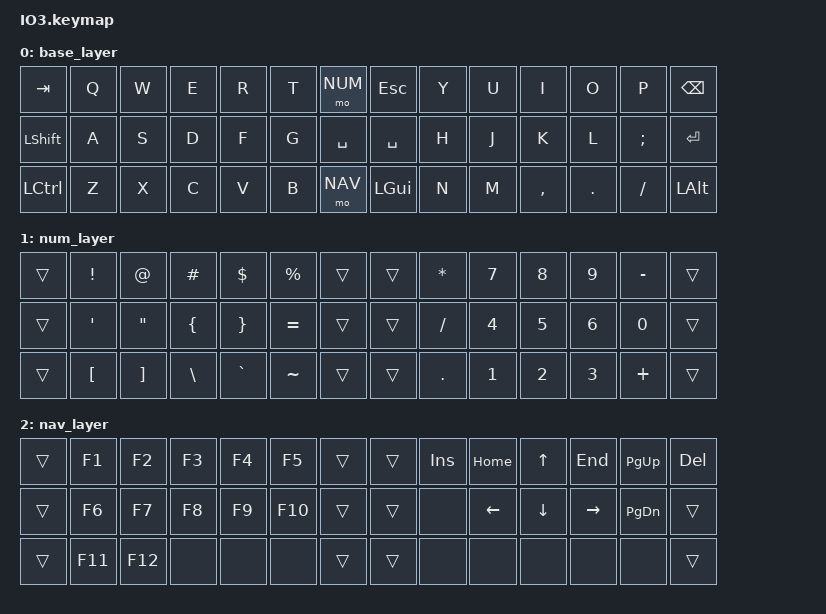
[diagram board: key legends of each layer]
#include <behaviors.dtsi>
#include <dt-bindings/zmk/keys.h>

#define BASE 0
#define NUM 1
#define NAV 2

// Keep the original 42 logical positions and both existing Space positions.
// Each line: left six keys, left thumb slot, right thumb slot, right six keys.
// Thumb slots are interleaved here; their physical order depends on the PCB.
// No hold-tap, toggle layers, Bluetooth clearing, or reset actions.

/ {
    keymap {
        compatible = "zmk,keymap";

        base_layer {
            bindings = <
                &kp TAB      &kp Q        &kp W        &kp E        &kp R        &kp T         &mo NUM      &kp ESC        &kp Y        &kp U        &kp I        &kp O        &kp P        &kp BSPC
                &kp LSHIFT   &kp A        &kp S        &kp D        &kp F        &kp G         &kp SPACE    &kp SPACE      &kp H        &kp J        &kp K        &kp L        &kp SEMI     &kp ENTER
                &kp LCTRL    &kp Z        &kp X        &kp C        &kp V        &kp B         &mo NAV      &kp LGUI       &kp N        &kp M        &kp COMMA    &kp DOT      &kp FSLH     &kp LALT
            >;
        };

        num_layer {
            bindings = <
                &trans       &kp EXCL     &kp AT       &kp HASH     &kp DLLR     &kp PRCNT     &trans       &trans         &kp ASTRK    &kp N7       &kp N8       &kp N9       &kp MINUS    &trans
                &trans       &kp SQT      &kp DQT      &kp LBRC     &kp RBRC     &kp EQUAL     &trans       &trans         &kp FSLH     &kp N4       &kp N5       &kp N6       &kp N0       &trans
                &trans       &kp LBKT     &kp RBKT     &kp BSLH     &kp GRAVE    &kp TILDE     &trans       &trans         &kp DOT      &kp N1       &kp N2       &kp N3       &kp PLUS     &trans
            >;
        };

        nav_layer {
            bindings = <
                &trans       &kp F1       &kp F2       &kp F3       &kp F4       &kp F5        &trans       &trans         &kp INSERT   &kp HOME     &kp UP       &kp END      &kp PG_UP    &kp DEL
                &trans       &kp F6       &kp F7       &kp F8       &kp F9       &kp F10       &trans       &trans         &none        &kp LEFT     &kp DOWN     &kp RIGHT    &kp PG_DN    &trans
                &trans       &kp F11      &kp F12      &none        &none        &none         &trans       &trans         &none        &none        &none        &none        &none        &trans
            >;
        };
    };
};
